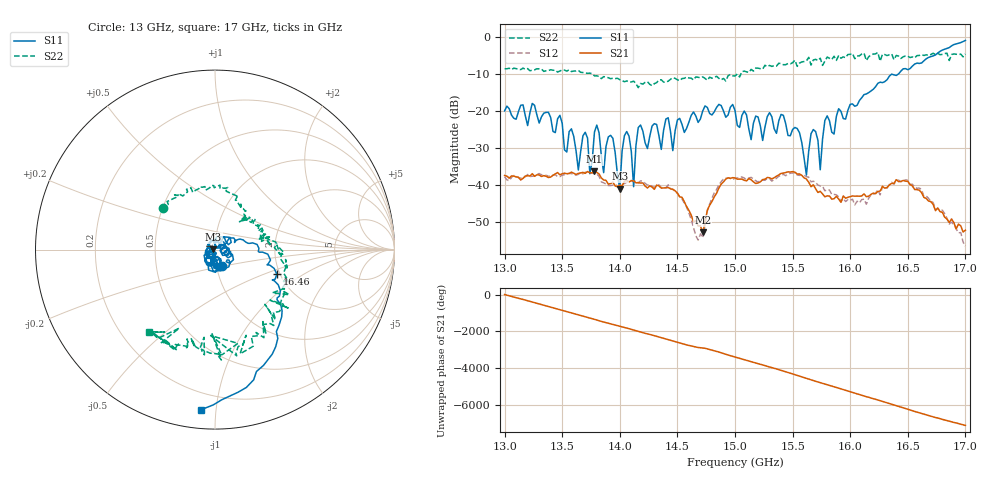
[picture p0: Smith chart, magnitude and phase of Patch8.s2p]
!Keysight Technologies,P9374A,MY57211810,A.19.30.04
!Date: Friday, May 09, 2025 10:33:48
!Correction: S11(Cdelta 2-Port  )
!S21(Cdelta 2-Port  )
!S12(Cdelta 2-Port  )
!S22(Cdelta 2-Port  )
!S2P File: Measurements: S11, S21, S12, S22:
# Hz S  dB  R 50
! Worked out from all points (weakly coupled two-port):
!   201 points, 13 GHz to 17 GHz, reference 50 ohm
!   highest |S21| = -36.30 dB at 13.78 GHz (marker M1); lowest = -52.7 dB at 14.72 GHz (marker M2)
!   lowest |S11| = -40.9 dB at 14 GHz (marker M3), VSWR 1.02, Z = 49.1 + j0.195 ohm
!   |S11| at or under -10 dB: start of sweep to 16.42 GHz
!   |S22| runs from -13.7 to -4.2 dB; largest |S21 - S12| = 0.0025
!   S11 on the Smith chart (normalised r, x): 13 GHz: 1.06, -0.20; 16.46 GHz: 1.92, -0.61; 17 GHz: 0.10, -0.91
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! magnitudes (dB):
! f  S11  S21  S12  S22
! 13 GHz  -20.0  -37.4  -37.7  -8.6
! 13.48 GHz  -21.2  -37.2  -37.7  -9.2
! 13.64 GHz  -35.9  -36.8  -37.1  -9.0
! 13.68 GHz  -26.7  -36.6  -36.9  -9.6
! 13.74 GHz  -36.9  -36.7  -36.7  -9.8
! 13.78 GHz  -25.7  -36.3  -36.7  -10.5
! 13.94 GHz  -27.4  -39.2  -40.0  -11.2
! 14 GHz  -40.9  -40.0  -40.2  -11.5
! 14.06 GHz  -25.5  -38.7  -39.2  -11.9
! 14.12 GHz  -40.4  -38.9  -38.8  -11.9
! 14.16 GHz  -24.5  -39.3  -39.5  -13.7
! 14.34 GHz  -26.7  -40.2  -39.9  -11.6
! 14.72 GHz  -20.0  -52.7  -54.2  -10.8
! 15 GHz  -19.8  -38.1  -38.1  -10.6
! 15.42 GHz  -21.2  -36.7  -37.1  -7.5
! 15.62 GHz  -37.3  -38.4  -37.7  -6.5
! 15.68 GHz  -25.0  -39.9  -38.9  -6.2
! 15.74 GHz  -35.9  -41.7  -40.2  -5.7
! 15.8 GHz  -21.3  -42.9  -41.2  -5.4
! 16.34 GHz  -10.6  -39.9  -39.8  -4.8
! 16.46 GHz  -8.6  -38.7  -38.8  -5.4
! 17 GHz  -1.0  -52.2  -56.5  -4.6
